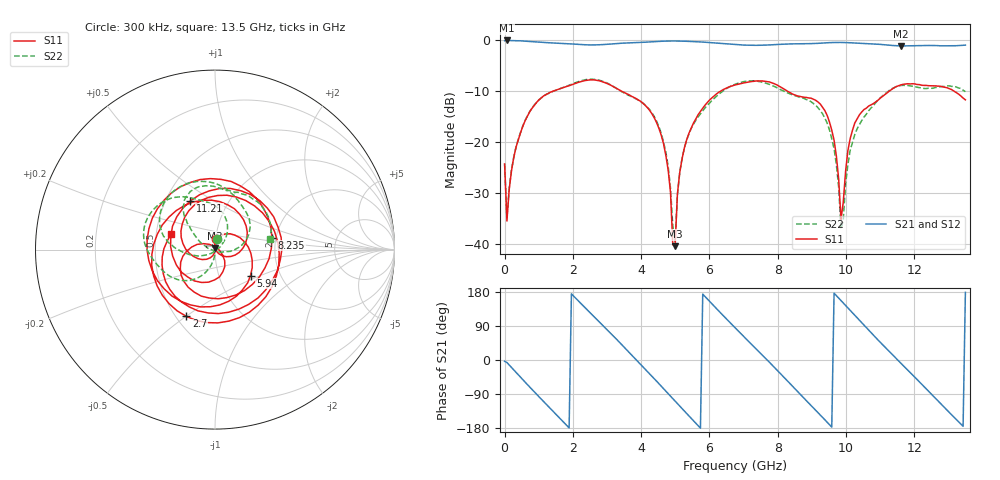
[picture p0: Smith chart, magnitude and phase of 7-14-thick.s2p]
!Agilent Technologies,N5230C,MY48100320,A.08.04.10
!Agilent N5230C: A.08.04.10
!Date: Friday, July 15, 2016 04:18:48
!Correction: S11(Full 2 Port(1,2))
!S21(Full 2 Port(1,2))
!S12(Full 2 Port(1,2))
!S22(Full 2 Port(1,2))
!S2P File: Measurements: S11, S21, S12, S22:
# Hz S  dB  R 50
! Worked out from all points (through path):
!   201 points, 300 kHz to 13.5 GHz, reference 50 ohm
!   highest |S21| = -0.01 dB at 67.8 MHz (marker M1); lowest = -1.1 dB at 11.61 GHz (marker M2)
!   group delay of S21, straight-line fit = 260 ps
!   lowest |S11| = -40.5 dB at 4.995 GHz (marker M3), VSWR 1.02, Z = 50 + j0.946 ohm
!   |S11| at or under -10 dB: start of sweep to 1.416 GHz; 3.429 GHz to 6.324 GHz (2.895 GHz wide, 59.4 % of centre); 8.289 GHz to 11.27 GHz (2.978 GHz wide, 30.5 % of centre)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
!   |S22| runs from -39.6 to -7.6 dB; largest |S21 - S12| = 0.0064
!   S11 on the Smith chart (normalised r, x): 300 kHz: 1.01, +0.12; 2.7 GHz: 0.56, -0.50; 5.94 GHz: 1.42, -0.44; 8.235 GHz: 1.90, +0.28; 11.21 GHz: 0.66, +0.40; 13.5 GHz: 0.60, +0.11
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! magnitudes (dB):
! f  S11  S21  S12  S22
! 300 kHz  -24.3  -0.1  0.0  -24.3
! 67.8 MHz  -35.5  0.0  0.0  -35.0
! 270.3 MHz  -23.0  0.0  0.0  -22.9
! 742.8 MHz  -14.0  -0.2  -0.2  -13.9
! 2.295 GHz  -8.0  -0.8  -0.8  -7.8
! 2.7 GHz  -7.9  -0.9  -0.9  -7.7
! 4.523 GHz  -17.3  -0.2  -0.2  -17.0
! 4.793 GHz  -25.5  -0.1  -0.1  -24.8
! 4.995 GHz  -40.5  -0.1  -0.1  -39.6
! 5.063 GHz  -30.3  -0.1  -0.1  -30.5
! 5.265 GHz  -21.2  -0.2  -0.2  -21.2
! 5.94 GHz  -12.2  -0.4  -0.4  -12.8
! 6.75 GHz  -8.8  -0.8  -0.8  -8.6
! 8.235 GHz  -9.8  -0.7  -0.7  -10.2
! 9.045 GHz  -11.6  -0.6  -0.6  -12.4
! 9.585 GHz  -17.7  -0.4  -0.4  -19.3
! 9.855 GHz  -35.2  -0.4  -0.4  -37.1
! 10.26 GHz  -16.3  -0.5  -0.5  -18.5
! 11.21 GHz  -10.3  -0.9  -0.9  -10.2
! 11.27 GHz  -10.0  -0.9  -0.9  -9.8
! 11.61 GHz  -8.8  -1.1  -1.1  -8.9
! 13.5 GHz  -11.7  -0.9  -0.9  -10.1
